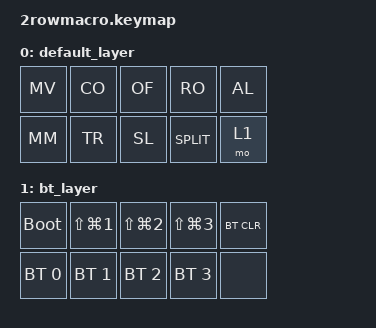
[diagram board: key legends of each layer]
#include <behaviors.dtsi>
#include <dt-bindings/zmk/keys.h>
#include <dt-bindings/zmk/bt.h>
/ {
    macros {
//ROW ONE
//move, copy, offset, rotate, align
        //ALIGN
        AL: AL {
            label = "AL";
            compatible = "zmk,behavior-macro";
            #binding-cells = <0>;
            bindings
                = <&macro_tap &kp A &kp L>
                ;
        };
        //MOVE
        MV: MV {
            label = "MV";
            compatible = "zmk,behavior-macro";
            #binding-cells = <0>;
            bindings
                = <&macro_tap &kp M &kp V>
                ;
        };
        //COPY
        CO: CO {
            label = "CO";
            compatible = "zmk,behavior-macro";
            #binding-cells = <0>;
            bindings
                = <&macro_tap &kp C &kp O>
                ;
        };
        //OFFSET
        OF: OF {
            label = "OF";
            compatible = "zmk,behavior-macro";
            #binding-cells = <0>;
            bindings
                = <&macro_tap &kp O &kp F>
                ;
        };
        //ROTATE
        RO: RO {
            label = "RO";
            compatible = "zmk,behavior-macro";
            #binding-cells = <0>;
            bindings
                = <&macro_tap &kp R &kp O>
                ;
        };
// ROW TWO
//mirror, trim, join, split
        //MIRROR
        MM: MM {
            label = "MM";
            compatible = "zmk,behavior-macro";
            #binding-cells = <0>;
            bindings
                = <&macro_tap &kp M &kp M>
                ;
        };
        //TRIM
        TR: TR {
            label = "TR";
            compatible = "zmk,behavior-macro";
            #binding-cells = <0>;
            bindings
                = <&macro_tap &kp T &kp R>
                ;
        };
        //SPLIT ELEMENT
        SL: SL {
            label = "SL";
            compatible = "zmk,behavior-macro";
            #binding-cells = <0>;
            bindings
                = <&macro_tap &kp S &kp L>
                ;
        };
        //SPLIT
        SPLIT: SPLIT {
            label = "SPLIT";
            compatible = "zmk,behavior-macro";
            #binding-cells = <0>;
            bindings
                = <&macro_tap &kp S &kp P &kp L &kp I &kp T>
                ;
        };
    };

    keymap {
        compatible = "zmk,keymap";

        default_layer {
            bindings = <
                //move, copy, offset, rotate, align
                &MV     &CO     &OF     &RO     &AL
                //mirror, trim, split element, split, layer 2
                &MM     &TR     &SL   &SPLIT  &mo 1 

            >;
        };
        bt_layer {
                    bindings = <
            &bootloader     &kp LS(LG(N1))                  &kp LS(LG(N2))                  &kp LS(LG(N3))                  &bt BT_CLR   
            &bt BT_SEL 0    &bt BT_SEL 1                    &bt BT_SEL 2                     &bt BT_SEL 3                   &none
                
            >;
        };
    };
};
